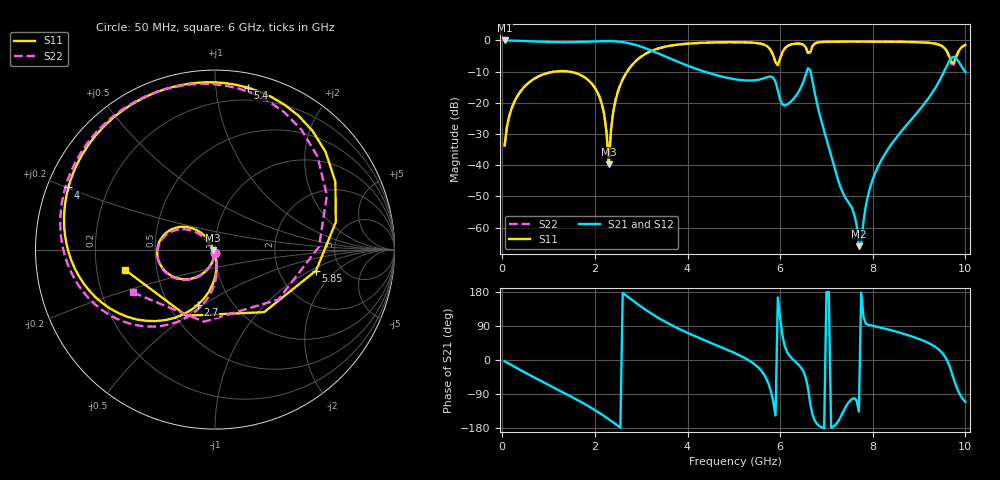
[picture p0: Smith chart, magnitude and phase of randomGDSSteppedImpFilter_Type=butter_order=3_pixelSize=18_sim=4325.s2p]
! freq	dB(S11)	phase(S11)	dB(S12)	phase(S12)
!  dB(S21)	phase(S21)	dB(S22)	phase(S22)
!S-par simulation data
#  GHz  S  DB  R 50
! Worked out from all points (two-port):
!   200 points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, 50 MHz to 10 GHz, reference 50 ohm
!   highest |S21| = -0.01 dB at 50 MHz (marker M1); lowest = -66.0 dB at 7.7 GHz (marker M2)
!   |S21| within 3 dB of the highest: start of sweep to 3.178 GHz
!   lowest |S11| = -39.8 dB at 2.3 GHz (marker M3), VSWR 1.02, Z = 49 - j0.29 ohm
!   |S11| at or under -10 dB: start of sweep to 1.123 GHz; 1.446 GHz to 2.695 GHz (1.249 GHz wide, 60.3 % of centre)
!   |S22| runs from -36.8 to -0.3 dB; largest |S21 - S12| = 0
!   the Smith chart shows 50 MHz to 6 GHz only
!   S11 on the Smith chart (normalised r, x): 50 MHz: 1.00, -0.04; 2.7 GHz: 0.69, -0.47; 4 GHz: 0.06, +0.20; 5.4 GHz: 0.10, +1.22; 5.85 GHz: 3.28, -1.14; 6 GHz: 0.32, -0.10
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0.05  -33.75 -93.3  -0.01 -3.5  -0.01 -3.5  -33.75 -93.2
0.55  -13.82 -128.0  -0.24 -37.1  -0.24 -37.1  -13.82 -127.0
1.75  -11.57 154.2  -0.46 -114.2  -0.46 -114.2  -11.57 158.0
2.15  -20.40 126.7  -0.24 -143.9  -0.24 -143.9  -20.37 133.4
2.3  -39.76 -163.3  -0.23 -156.4  -0.23 -156.4  -36.79 -153.6
2.4  -22.49 -83.5  -0.27 -165.1  -0.27 -165.1  -22.38 -83.5
2.7  -9.87 -107.2  -0.80 167.6  -0.80 167.6  -9.86 -103.3
3.4  -2.44 -165.5  -4.38 109.0  -4.38 109.0  -2.43 -159.3
4  -1.04 157.0  -8.08 71.6  -8.08 71.6  -1.03 164.9
5.05  -0.57 101.8  -12.51 16.6  -12.51 16.6  -0.57 112.8
5.4  -0.71 78.7  -12.84 -7.1  -12.84 -7.1  -0.71 90.6
5.7  -1.70 41.4  -11.88 -48.8  -11.88 -48.8  -1.69 54.2
5.85  -4.80 -11.7  -11.93 -109.2  -11.93 -109.2  -4.74 1.5
6  -5.77 -167.4  -19.07 110.3  -19.07 110.3  -5.74 -152.4
6.2  -1.47 112.7  -20.04 11.4  -20.04 11.4  -1.48 127.7
6.7  -1.74 82.9  -13.18 -145.1  -13.18 -145.1  -1.74 99.0
7.7  -0.36 23.9  -65.98 -136.1  -65.98 -136.1  -0.35 41.9
7.95  -0.37 13.5  -46.77 91.8  -46.77 91.8  -0.36 31.8
8.35  -0.41 -2.6  -34.40 80.1  -34.40 80.1  -0.39 16.0
9.45  -1.49 -52.8  -12.63 25.0  -12.63 25.0  -1.45 -34.7
9.7  -7.03 -56.5  -5.56 -31.3  -5.56 -31.3  -7.50 -39.6
10  -1.46 -39.6  -10.14 -110.4  -10.14 -110.4  -1.46 -19.7
